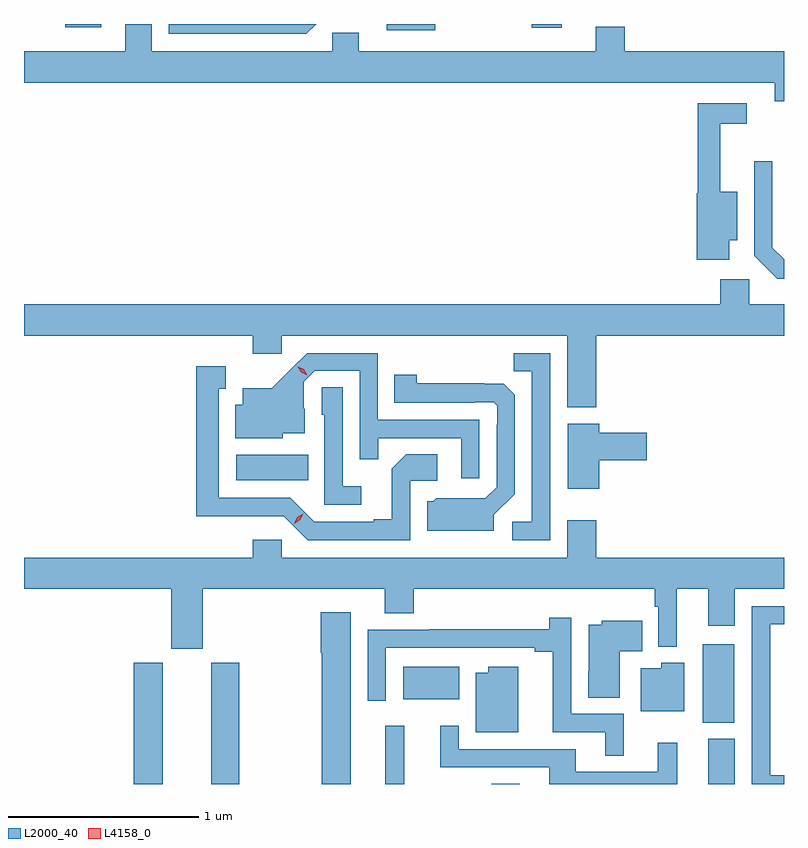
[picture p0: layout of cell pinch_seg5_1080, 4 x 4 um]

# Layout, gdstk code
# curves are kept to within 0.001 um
import gdstk
lib = gdstk.Library(unit=1e-6, precision=1e-09)
def R(c, l, rs):  # rectangles x0, y0, x1, y1
    for r in rs: c.add(gdstk.rectangle(r[:2], r[2:], *l))
def P(c, l, *ps):  # polygons
    for p in ps: c.add(gdstk.Polygon(p, *l))
L2000_40 = (2000, 40)
L4158_0 = (4158, 0)

pinch_seg5_1080 = lib.new_cell('pinch_seg5_1080')
R(pinch_seg5_1080, L2000_40, [(796.178,863.724,796.33,864.363), (796.586,863.724,796.734,864.363), (797.501,863.724,797.6,864.031), (798.061,863.724,798.208,863.726), (799.202,863.724,799.342,863.962), (799.172,864.047,799.339,864.46), (797.597,864.17,797.89,864.34), (796.716,865.322,797.096,865.456), (797.508,867.69,797.765,867.724), (798.272,867.705,798.43,867.724), (795.817,867.708,796.006,867.724)])
P(pinch_seg5_1080, L2000_40, [(799.6,867.58),(798.761,867.58),(798.761,867.71),(798.608,867.71),(798.608,867.58),(797.362,867.58),(797.362,867.678),(797.223,867.678),(797.223,867.58),(796.273,867.58),(796.273,867.724),(796.133,867.724),(796.133,867.58),(795.6,867.58),(795.6,867.416),(799.55,867.416),(799.55,867.318),(799.6,867.318)],
  [(797.138,867.724),(796.362,867.724),(796.362,867.672),(797.086,867.672)],
  [(799.312,866.585),(799.354,866.585),(799.354,866.842),(799.265,866.842),(799.265,867.198),(799.405,867.198),(799.405,867.306),(799.147,867.306),(799.147,866.832),(799.142,866.832),(799.142,866.484),(799.312,866.484)],
  [(799.6,866.486),(799.539,866.547),(799.539,867.001),(799.443,867.001),(799.443,866.505),(799.564,866.384),(799.6,866.384)],
  [(798.611,866.084),(799.6,866.084),(799.6,866.248),(799.416,866.248),(799.416,866.38),(799.265,866.38),(799.265,866.248),(795.6,866.248),(795.6,866.084),(796.805,866.084),(796.805,865.989),(796.956,865.989),(796.956,866.084),(798.458,866.084),(798.458,865.706),(798.611,865.706)],
  [(797.997,865.641),(797.463,865.641),(797.463,865.992),(797.09,865.992),(796.903,865.807),(796.751,865.807),(796.751,865.72),(796.712,865.72),(796.712,865.544),(796.962,865.544),(796.962,865.571),(797.077,865.571),(797.077,865.7),(797.073,865.7),(797.073,865.842),(797.13,865.899),(797.367,865.899),(797.367,865.432),(797.465,865.432),(797.465,865.545),(797.901,865.545),(797.901,865.332),(797.997,865.332)],
  [(798.369,865.992),(798.178,865.992),(798.178,865.897),(798.273,865.897),(798.273,865.104),(798.171,865.104),(798.171,865.008),(798.369,865.008)],
  [(797.634,865.32),(797.776,865.32),(797.776,865.46),(797.611,865.46),(797.535,865.384),(797.535,865.117),(797.441,865.117),(797.441,865.104),(797.127,865.104),(797.001,865.23),(796.624,865.23),(796.624,865.803),(796.663,865.803),(796.663,865.924),(796.506,865.924),(796.506,865.133),(796.968,865.134),(797.094,865.008),(797.634,865.008)],
  [(798.073,865.14),(798.183,865.25),(798.183,865.772),(798.124,865.831),(797.667,865.832),(797.667,865.879),(797.548,865.879),(797.548,865.731),(797.972,865.731),(797.972,865.734),(798.072,865.734),(798.09,865.716),(798.09,865.616),(798.087,865.616),(798.087,865.287),(798.027,865.227),(797.77,865.228),(797.754,865.212),(797.723,865.212),(797.723,865.058),(798.073,865.058)],
  [(797.374,865.291),(797.277,865.291),(797.277,865.811),(797.166,865.811),(797.166,865.668),(797.181,865.668),(797.181,865.194),(797.374,865.194)],
  [(798.628,865.427),(798.877,865.427),(798.877,865.574),(798.628,865.574),(798.628,865.621),(798.461,865.621),(798.461,865.278),(798.628,865.278)],
  [(796.54,864.752),(797.498,864.752),(797.498,864.622),(797.651,864.622),(797.651,864.752),(798.919,864.752),(798.919,864.656),(798.939,864.656),(798.939,864.446),(799.036,864.446),(799.036,864.752),(799.202,864.752),(799.202,864.558),(799.342,864.558),(799.342,864.752),(799.6,864.752),(799.6,864.916),(798.611,864.916),(798.611,865.111),(798.458,865.111),(798.458,864.916),(796.956,864.916),(796.956,865.009),(796.805,865.009),(796.805,864.916),(795.6,864.916),(795.6,864.752),(796.376,864.752),(796.376,864.435),(796.54,864.435)],
  [(799.6,863.771),(799.527,863.771),(799.527,864.564),(799.6,864.564),(799.6,864.66),(799.431,864.66),(799.431,863.724),(799.6,863.724)],
  [(797.32,864.628),(797.162,864.628),(797.162,864.415),(797.167,864.415),(797.167,863.724),(797.32,863.724)],
  [(798.757,864.093),(798.48,864.093),(798.48,864.598),(798.364,864.598),(798.364,864.539),(797.734,864.539),(797.734,864.537),(797.409,864.537),(797.409,864.162),(797.505,864.162),(797.505,864.441),(798.287,864.441),(798.287,864.421),(798.383,864.421),(798.383,863.997),(798.659,863.997),(798.659,863.873),(798.757,863.873)],
  [(798.736,864.422),(798.854,864.422),(798.854,864.583),(798.642,864.583),(798.642,864.562),(798.572,864.562),(798.572,864.318),(798.569,864.318),(798.569,864.178),(798.736,864.178)],
  [(799.075,864.361),(798.954,864.361),(798.954,864.334),(798.845,864.334),(798.845,864.107),(799.075,864.107)],
  [(798.202,864.34),(798.044,864.34),(798.044,864.31),(797.978,864.31),(797.978,863.996),(798.202,863.996)],
  [(799.039,863.941),(798.935,863.941),(798.935,863.788),(798.505,863.788),(798.505,863.907),(797.889,863.907),(797.889,864.031),(797.792,864.031),(797.792,863.811),(798.365,863.811),(798.365,863.724),(799.039,863.724)])
P(pinch_seg5_1080, L4158_0, [(797.022,865.095),(797.022,865.095),(797.039,865.128),(797.07,865.147),(797.07,865.147),(797.07,865.147),(797.053,865.114),(797.022,865.095)],
  [(797.09,865.876),(797.06,865.891),(797.042,865.921),(797.042,865.921),(797.043,865.921),(797.073,865.906),(797.09,865.876),(797.09,865.876)])

lib.write_gds('pinch_seg5_1080.gds')
